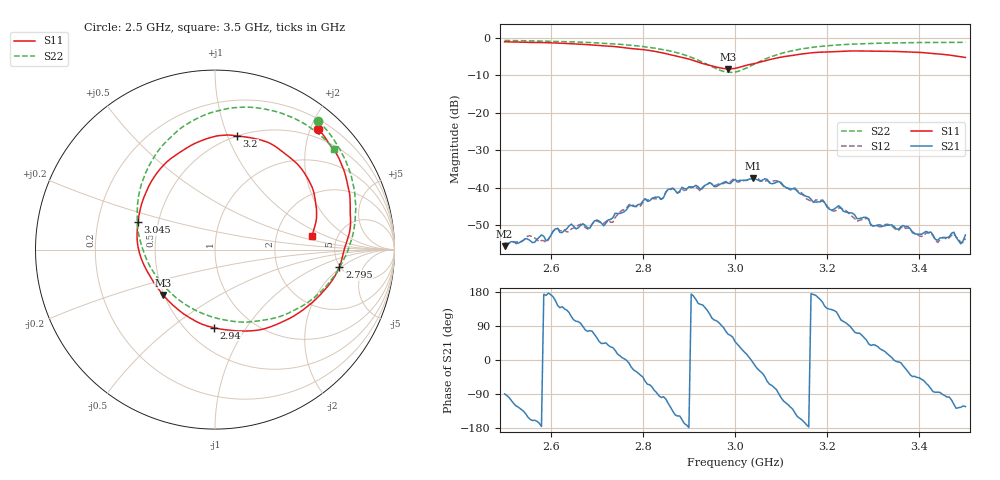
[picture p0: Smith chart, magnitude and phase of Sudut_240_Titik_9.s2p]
# Hz S RI R 50
! CMT, C1220, 16058040, 17.2.0/1
! Date: 15/08/2018 09:49:31
! Data: Format (Calibration Info)
! Freq  S11: Re/Im (F2)  S21: Re/Im (F2)  S12: Re/Im (F2)  S22: Re/Im (F2)
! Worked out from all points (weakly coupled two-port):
!   201 points, 2.5 GHz to 3.5 GHz, reference 50 ohm
!   highest |S21| = -37.50 dB at 3.04 GHz (marker M1); lowest = -55.6 dB at 2.5 GHz (marker M2)
!   lowest |S11| = -8.3 dB at 2.985 GHz (marker M3), VSWR 2.25, Z = 24.7 - j14.6 ohm
!   |S11| at or under -10 dB: nowhere
!   |S22| runs from -9.3 to -0.7 dB; largest |S21 - S12| = 0.0011
!   S11 on the Smith chart (normalised r, x): 2.5 GHz: 0.35, +2.13; 2.795 GHz: 4.95, -1.85; 2.94 GHz: 0.67, -0.72; 3.045 GHz: 0.38, +0.15; 3.2 GHz: 0.50, +1.08; 3.5 GHz: 3.23, +0.70
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2.5e9  0.5757 0.67  1.64e-05 -0.00166  3.72e-05 -0.00184  0.5749 0.7178
2.555e9  0.6407 0.5828  -0.00181 -0.000796  -0.00206 -0.000988  0.636 0.6494
2.59e9  0.6856 0.5185  -0.00193 0.000321  -0.00186 0.000131  0.6725 0.5969
2.61e9  0.7028 0.4795  -0.0026 0.00108  -0.00258 0.00105  0.6931 0.5629
2.67e9  0.747 0.3285  0.0001 0.0033  0.000334 0.00312  0.7478 0.4447
2.715e9  0.7543 0.1931  0.00223 0.00214  0.00239 0.00232  0.7761 0.3336
2.795e9  0.6936 -0.0955  0.00459 -0.00387  0.00433 -0.00369  0.7665 0.0774
2.835e9  0.5941 -0.2433  -0.000575 -0.00748  -0.000354 -0.00723  0.7051 -0.0779
2.94e9  -0.00603 -0.4351  -0.00722 0.00845  -0.00744 0.00829  0.176 -0.4041
2.985e9  -0.289 -0.2527  0.00424 0.0106  0.00383 0.0109  -0.18 -0.2959
3e9  -0.3582 -0.1547  0.00848 0.00967  0.00907 0.00918  -0.2804 -0.2066
3.04e9  -0.4323 0.1212  0.0132 -0.00206  0.0135 -0.0016  -0.4282 0.0986
3.045e9  -0.429 0.1553  0.0124 -0.0039  0.0131 -0.00395  -0.433 0.1398
3.105e9  -0.2666 0.49  -0.00325 -0.0101  -0.00344 -0.00986  -0.3247 0.539
3.17e9  0.00717 0.6326  -0.00633 0.000791  -0.00635 0.000251  -0.0707 0.7445
3.2e9  0.122 0.6339  -0.00396 0.00381  -0.00389 0.00406  0.0426 0.7797
3.335e9  0.4767 0.4563  0.00309 0.000662  0.00315 0.000493  0.4172 0.7421
3.425e9  0.56 0.2653  0.000627 -0.00248  0.000605 -0.0024  0.5721 0.6486
3.44e9  0.5654 0.2252  0.000177 -0.00198  0.000163 -0.00185  0.5942 0.6306
3.475e9  0.5584 0.1381  -0.00116 -0.00227  -0.00104 -0.00222  0.6367 0.5896
3.49e9  0.5479 0.1  -0.00102 -0.00146  -0.00116 -0.00145  0.654 0.5708
3.5e9  0.5399 0.076  -0.00127 -0.00196  -0.00127 -0.00167  0.6651 0.5581
